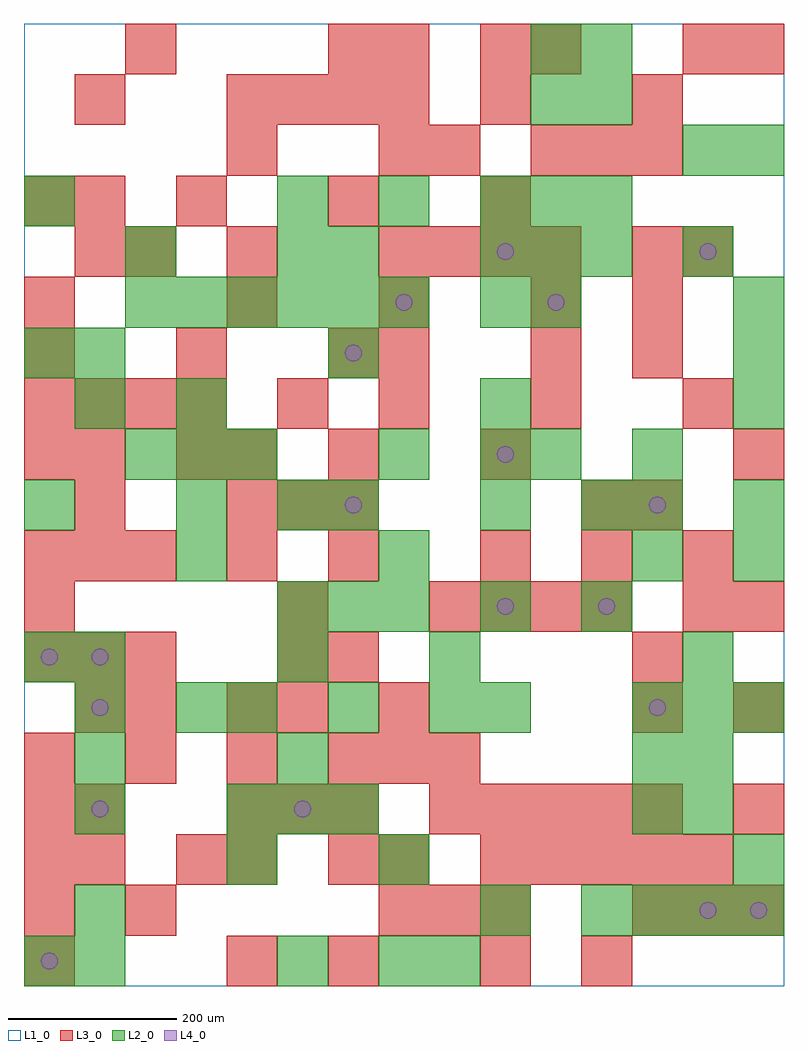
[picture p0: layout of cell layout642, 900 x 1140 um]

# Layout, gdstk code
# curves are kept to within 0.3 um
import gdstk
lib = gdstk.Library(unit=1e-6, precision=1e-09)
def R(c, l, rs):  # rectangles x0, y0, x1, y1
    for r in rs: c.add(gdstk.rectangle(r[:2], r[2:], *l))
def A(c, l, x, y, w, h, nx, ny, dx, dy):  # array of equal rectangles
    R(c, l, [(x+i*dx, y+j*dy, x+i*dx+w, y+j*dy+h) for i in range(nx) for j in range(ny)])
def P(c, l, *ps):  # polygons
    for p in ps: c.add(gdstk.Polygon(p, *l))
L1_0 = (1, 0)
L2_0 = (2, 0)
L3_0 = (3, 0)
L4_0 = (4, 0)

layout642 = lib.new_cell('layout642')
R(layout642, L1_0, [(0,0,900,1140)])
A(layout642, L2_0, 660, 60, 60, 60, 4, 1, 60, 0)
A(layout642, L2_0, 60, 180, 60, 60, 1, 4, 0, 60)
A(layout642, L2_0, 240, 180, 60, 60, 3, 1, 60, 0)
A(layout642, L2_0, 240, 300, 60, 60, 3, 1, 120, 0)
A(layout642, L2_0, 540, 300, 60, 60, 1, 3, 0, 120)
A(layout642, L2_0, 720, 300, 60, 60, 3, 1, 60, 0)
A(layout642, L2_0, 0, 360, 60, 60, 1, 4, 0, 180)
A(layout642, L2_0, 300, 420, 60, 60, 3, 1, 60, 0)
A(layout642, L2_0, 720, 480, 60, 60, 1, 3, 0, 60)
A(layout642, L2_0, 120, 600, 60, 60, 3, 1, 60, 0)
A(layout642, L2_0, 840, 660, 60, 60, 1, 3, 0, 60)
A(layout642, L2_0, 120, 780, 60, 60, 6, 1, 60, 0)
A(layout642, L2_0, 600, 780, 60, 60, 1, 3, 0, 120)
A(layout642, L2_0, 540, 840, 60, 60, 3, 1, 60, 0)
A(layout642, L2_0, 300, 900, 60, 60, 3, 1, 120, 0)
R(layout642, L2_0, [(0,0,60,60), (60,0,120,60), (300,0,360,60), (420,0,480,60), (480,0,540,60), (60,60,120,120), (540,60,600,120), (240,120,300,180), (420,120,480,180), (840,120,900,180), (720,180,780,240), (780,180,840,240), (300,240,360,300), (720,240,780,300), (780,240,840,300), (180,300,240,360), (300,360,360,420), (480,360,540,420), (780,360,840,420), (660,420,720,480), (180,480,240,540), (420,480,480,540), (840,480,900,540), (180,540,240,600), (300,540,360,600), (360,540,420,600), (660,540,720,600), (840,540,900,600), (420,600,480,660), (540,600,600,660), (600,600,660,660), (60,660,120,720), (180,660,240,720), (540,660,600,720), (60,720,120,780), (360,720,420,780), (540,780,600,840), (120,840,180,900), (300,840,360,900), (360,840,420,900), (780,840,840,900), (660,900,720,960), (780,960,840,1020), (840,960,900,1020), (660,1020,720,1080), (600,1080,660,1140), (660,1080,720,1140)])
A(layout642, L3_0, 0, 0, 60, 60, 1, 4, 0, 60)
A(layout642, L3_0, 420, 60, 60, 60, 3, 1, 60, 0)
A(layout642, L3_0, 720, 60, 60, 60, 3, 1, 60, 0)
A(layout642, L3_0, 240, 120, 60, 60, 1, 3, 0, 180)
A(layout642, L3_0, 540, 120, 60, 60, 5, 1, 60, 0)
A(layout642, L3_0, 240, 180, 60, 60, 3, 2, 60, 360)
A(layout642, L3_0, 480, 180, 60, 60, 5, 1, 60, 0)
A(layout642, L3_0, 840, 180, 60, 60, 1, 3, 0, 120)
A(layout642, L3_0, 0, 240, 60, 60, 4, 1, 120, 0)
A(layout642, L3_0, 300, 300, 60, 60, 1, 3, 0, 60)
A(layout642, L3_0, 0, 360, 60, 60, 3, 2, 60, 120)
A(layout642, L3_0, 360, 360, 60, 60, 1, 3, 0, 120)
A(layout642, L3_0, 720, 360, 60, 60, 1, 3, 0, 180)
A(layout642, L3_0, 0, 420, 60, 60, 1, 3, 0, 180)
A(layout642, L3_0, 480, 420, 60, 60, 4, 1, 60, 0)
A(layout642, L3_0, 540, 480, 60, 60, 3, 1, 120, 0)
A(layout642, L3_0, 0, 660, 60, 60, 4, 1, 60, 0)
A(layout642, L3_0, 420, 660, 60, 60, 3, 1, 180, 0)
A(layout642, L3_0, 0, 720, 60, 60, 3, 1, 180, 0)
A(layout642, L3_0, 240, 780, 60, 60, 3, 1, 180, 0)
A(layout642, L3_0, 420, 840, 60, 60, 4, 1, 60, 0)
A(layout642, L3_0, 180, 900, 60, 60, 3, 1, 180, 0)
A(layout642, L3_0, 600, 960, 60, 60, 3, 1, 60, 0)
A(layout642, L3_0, 240, 1020, 60, 60, 4, 1, 60, 0)
R(layout642, L3_0, [(240,0,300,60), (360,0,420,60), (540,0,600,60), (660,0,720,60), (120,60,180,120), (60,120,120,180), (180,120,240,180), (360,120,420,180), (420,120,480,180), (60,180,120,240), (420,240,480,300), (480,240,540,300), (60,300,120,360), (120,300,180,360), (420,300,480,360), (720,300,780,360), (780,420,840,480), (60,540,120,600), (660,540,720,600), (60,600,120,660), (180,600,240,660), (240,600,300,660), (540,600,600,660), (840,600,900,660), (300,660,360,720), (420,720,480,780), (600,720,660,780), (720,780,780,840), (60,840,120,900), (120,840,180,900), (240,840,300,900), (720,840,780,900), (780,840,840,900), (0,900,60,960), (60,900,120,960), (240,960,300,1020), (420,960,480,1020), (480,960,540,1020), (60,1020,120,1080), (540,1020,600,1080), (720,1020,780,1080), (120,1080,180,1140), (360,1080,420,1140), (420,1080,480,1140), (540,1080,600,1140), (600,1080,660,1140), (780,1080,840,1140), (840,1080,900,1140)])
P(layout642, L4_0, [(40,30),(39.239,33.827),(37.071,37.071),(33.827,39.239),(30,40),(26.173,39.239),(22.929,37.071),(20.761,33.827),(20,30),(20.761,26.173),(22.929,22.929),(26.173,20.761),(30,20),(33.827,20.761),(37.071,22.929),(39.239,26.173)],
  [(40,390),(39.239,393.827),(37.071,397.071),(33.827,399.239),(30,400),(26.173,399.239),(22.929,397.071),(20.761,393.827),(20,390),(20.761,386.173),(22.929,382.929),(26.173,380.761),(30,380),(33.827,380.761),(37.071,382.929),(39.239,386.173)],
  [(100,210),(99.239,213.827),(97.071,217.071),(93.827,219.239),(90,220),(86.173,219.239),(82.929,217.071),(80.761,213.827),(80,210),(80.761,206.173),(82.929,202.929),(86.173,200.761),(90,200),(93.827,200.761),(97.071,202.929),(99.239,206.173)],
  [(100,330),(99.239,333.827),(97.071,337.071),(93.827,339.239),(90,340),(86.173,339.239),(82.929,337.071),(80.761,333.827),(80,330),(80.761,326.173),(82.929,322.929),(86.173,320.761),(90,320),(93.827,320.761),(97.071,322.929),(99.239,326.173)],
  [(100,390),(99.239,393.827),(97.071,397.071),(93.827,399.239),(90,400),(86.173,399.239),(82.929,397.071),(80.761,393.827),(80,390),(80.761,386.173),(82.929,382.929),(86.173,380.761),(90,380),(93.827,380.761),(97.071,382.929),(99.239,386.173)],
  [(340,210),(339.239,213.827),(337.071,217.071),(333.827,219.239),(330,220),(326.173,219.239),(322.929,217.071),(320.761,213.827),(320,210),(320.761,206.173),(322.929,202.929),(326.173,200.761),(330,200),(333.827,200.761),(337.071,202.929),(339.239,206.173)],
  [(400,570),(399.239,573.827),(397.071,577.071),(393.827,579.239),(390,580),(386.173,579.239),(382.929,577.071),(380.761,573.827),(380,570),(380.761,566.173),(382.929,562.929),(386.173,560.761),(390,560),(393.827,560.761),(397.071,562.929),(399.239,566.173)],
  [(400,750),(399.239,753.827),(397.071,757.071),(393.827,759.239),(390,760),(386.173,759.239),(382.929,757.071),(380.761,753.827),(380,750),(380.761,746.173),(382.929,742.929),(386.173,740.761),(390,740),(393.827,740.761),(397.071,742.929),(399.239,746.173)],
  [(460,810),(459.239,813.827),(457.071,817.071),(453.827,819.239),(450,820),(446.173,819.239),(442.929,817.071),(440.761,813.827),(440,810),(440.761,806.173),(442.929,802.929),(446.173,800.761),(450,800),(453.827,800.761),(457.071,802.929),(459.239,806.173)],
  [(580,450),(579.239,453.827),(577.071,457.071),(573.827,459.239),(570,460),(566.173,459.239),(562.929,457.071),(560.761,453.827),(560,450),(560.761,446.173),(562.929,442.929),(566.173,440.761),(570,440),(573.827,440.761),(577.071,442.929),(579.239,446.173)],
  [(580,630),(579.239,633.827),(577.071,637.071),(573.827,639.239),(570,640),(566.173,639.239),(562.929,637.071),(560.761,633.827),(560,630),(560.761,626.173),(562.929,622.929),(566.173,620.761),(570,620),(573.827,620.761),(577.071,622.929),(579.239,626.173)],
  [(580,870),(579.239,873.827),(577.071,877.071),(573.827,879.239),(570,880),(566.173,879.239),(562.929,877.071),(560.761,873.827),(560,870),(560.761,866.173),(562.929,862.929),(566.173,860.761),(570,860),(573.827,860.761),(577.071,862.929),(579.239,866.173)],
  [(640,810),(639.239,813.827),(637.071,817.071),(633.827,819.239),(630,820),(626.173,819.239),(622.929,817.071),(620.761,813.827),(620,810),(620.761,806.173),(622.929,802.929),(626.173,800.761),(630,800),(633.827,800.761),(637.071,802.929),(639.239,806.173)],
  [(700,450),(699.239,453.827),(697.071,457.071),(693.827,459.239),(690,460),(686.173,459.239),(682.929,457.071),(680.761,453.827),(680,450),(680.761,446.173),(682.929,442.929),(686.173,440.761),(690,440),(693.827,440.761),(697.071,442.929),(699.239,446.173)],
  [(760,330),(759.239,333.827),(757.071,337.071),(753.827,339.239),(750,340),(746.173,339.239),(742.929,337.071),(740.761,333.827),(740,330),(740.761,326.173),(742.929,322.929),(746.173,320.761),(750,320),(753.827,320.761),(757.071,322.929),(759.239,326.173)],
  [(760,570),(759.239,573.827),(757.071,577.071),(753.827,579.239),(750,580),(746.173,579.239),(742.929,577.071),(740.761,573.827),(740,570),(740.761,566.173),(742.929,562.929),(746.173,560.761),(750,560),(753.827,560.761),(757.071,562.929),(759.239,566.173)],
  [(820,90),(819.239,93.827),(817.071,97.071),(813.827,99.239),(810,100),(806.173,99.239),(802.929,97.071),(800.761,93.827),(800,90),(800.761,86.173),(802.929,82.929),(806.173,80.761),(810,80),(813.827,80.761),(817.071,82.929),(819.239,86.173)],
  [(820,870),(819.239,873.827),(817.071,877.071),(813.827,879.239),(810,880),(806.173,879.239),(802.929,877.071),(800.761,873.827),(800,870),(800.761,866.173),(802.929,862.929),(806.173,860.761),(810,860),(813.827,860.761),(817.071,862.929),(819.239,866.173)],
  [(880,90),(879.239,93.827),(877.071,97.071),(873.827,99.239),(870,100),(866.173,99.239),(862.929,97.071),(860.761,93.827),(860,90),(860.761,86.173),(862.929,82.929),(866.173,80.761),(870,80),(873.827,80.761),(877.071,82.929),(879.239,86.173)])

lib.write_gds('layout642.gds')
